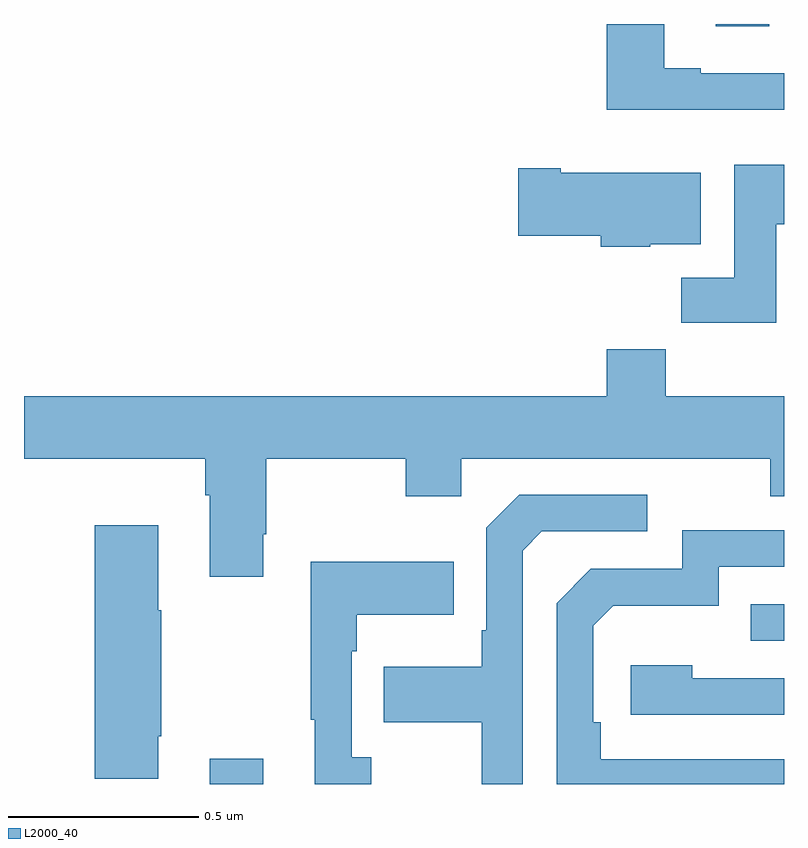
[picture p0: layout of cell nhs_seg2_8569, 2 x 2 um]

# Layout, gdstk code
import gdstk
lib = gdstk.Library(unit=1e-6, precision=1e-09)
def R(c, l, rs):  # rectangles x0, y0, x1, y1
    for r in rs: c.add(gdstk.rectangle(r[:2], r[2:], *l))
def P(c, l, *ps):  # polygons
    for p in ps: c.add(gdstk.Polygon(p, *l))
L2000_40 = (2000, 40)

nhs_seg2_8569 = lib.new_cell('nhs_seg2_8569')
R(nhs_seg2_8569, L2000_40, [(218.489,626.8,218.629,626.866), (219.913,627.177,220,627.273), (219.821,628.794,219.961,628.8)])
P(nhs_seg2_8569, L2000_40, [(220,628.671),(219.781,628.671),(219.781,628.684),(219.685,628.684),(219.685,628.8),(219.533,628.8),(219.533,628.574),(220,628.574)],
  [(219.979,628.273),(220,628.273),(220,628.429),(219.869,628.429),(219.869,628.132),(219.73,628.132),(219.73,628.014),(219.979,628.014)],
  [(219.648,628.22),(219.781,628.22),(219.781,628.408),(219.412,628.408),(219.412,628.421),(219.3,628.421),(219.3,628.243),(219.518,628.243),(219.518,628.214),(219.648,628.214)],
  [(218.629,627.457),(218.637,627.457),(218.637,627.656),(219.004,627.656),(219.004,627.557),(219.15,627.557),(219.15,627.656),(219.964,627.656),(219.964,627.557),(220,627.557),(220,627.82),(219.689,627.82),(219.689,627.944),(219.533,627.944),(219.533,627.82),(218,627.82),(218,627.656),(218.477,627.656),(218.477,627.56),(218.489,627.56),(218.489,627.345),(218.629,627.345)],
  [(219.312,627.414),(219.363,627.465),(219.64,627.465),(219.64,627.561),(219.303,627.561),(219.216,627.474),(219.216,627.205),(219.204,627.205),(219.204,627.109),(218.947,627.109),(218.947,626.962),(219.204,626.962),(219.204,626.8),(219.312,626.8)],
  [(218.353,626.926),(218.361,626.926),(218.361,627.257),(218.353,627.257),(218.353,627.481),(218.186,627.481),(218.186,626.814),(218.353,626.814)],
  [(220,626.865),(219.518,626.865),(219.518,626.962),(219.498,626.962),(219.498,627.216),(219.551,627.269),(219.828,627.269),(219.828,627.372),(220,627.372),(220,627.468),(219.732,627.468),(219.732,627.366),(219.492,627.366),(219.402,627.276),(219.402,626.8),(220,626.8)],
  [(218.914,626.87),(218.862,626.87),(218.862,627.149),(218.875,627.149),(218.875,627.245),(219.131,627.245),(219.131,627.385),(218.754,627.385),(218.754,626.969),(218.765,626.969),(218.765,626.8),(218.914,626.8)],
  [(220,627.078),(219.758,627.078),(219.758,627.112),(219.597,627.112),(219.597,626.982),(220,626.982)])

lib.write_gds('nhs_seg2_8569.gds')
